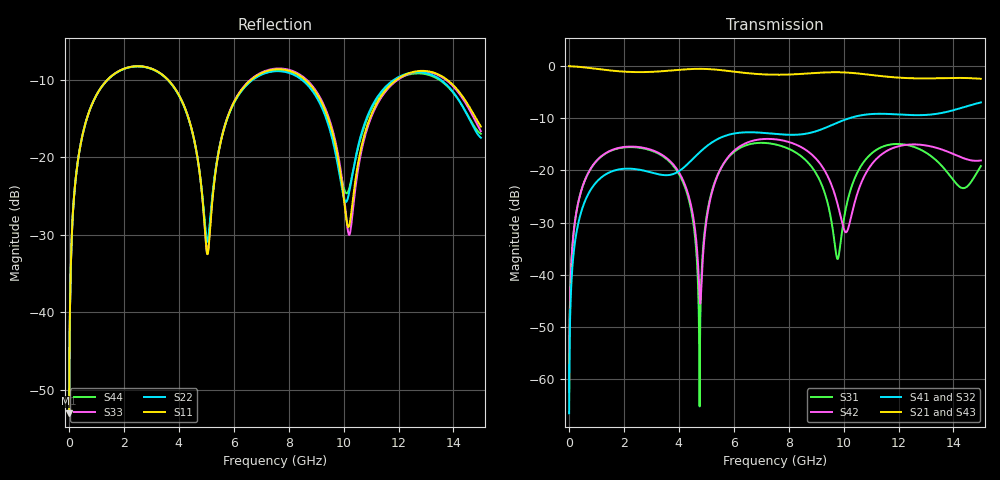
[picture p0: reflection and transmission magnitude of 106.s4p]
! Created with skrf 1.8.0 (http://scikit-rf.org).
# GHz S RI R 50.0
!freq ReS11 ImS11 ReS12 ImS12 ReS13 ImS13
! ReS14 ImS14
! ReS21 ImS21 ReS22 ImS22 ReS23 ImS23
! ReS24 ImS24
! ReS31 ImS31 ReS32 ImS32 ReS33 ImS33
! ReS34 ImS34
! ReS41 ImS41 ReS42 ImS42 ReS43 ImS43
! ReS44 ImS44
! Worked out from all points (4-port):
!   2499 points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, 5 MHz to 15 GHz, reference 50 ohm
!   strongest paths, dB at 5 MHz, 3.476 GHz, 7.19 GHz, 11.1 GHz, 15 GHz:
!     S21: 0.0, -1.0, -1.6, -1.8, -2.4
!     S43: 0.0, -1.0, -1.6, -1.7, -2.4
!     S41: -66.6, -20.9, -12.9, -9.2, -7.0
!     S32: -66.6, -21.0, -12.9, -9.2, -6.9
!     S42: -62.5, -17.3, -14.0, -18.3, -18.1
!     S31: -62.5, -17.5, -14.8, -16.4, -19.2
!   lowest |S11| = -53.1 dB at 5 MHz (marker M1), VSWR 1.00, Z = 50.2 + j0.135 ohm
!   |S11| at or under -10 dB: start of sweep to 1.393 GHz; 3.614 GHz to 6.623 GHz (3.01 GHz wide, 58.8 % of centre); 8.616 GHz to 11.92 GHz (3.3 GHz wide, 32.1 % of centre) (the widest 3 of 4)
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0.005  0.00177 0.00134  0.9982 -0.00345  9.1e-05 0.000746  -8.81e-05 -0.000461
       0.9982 -0.00345  0.00177 0.00134  -8.81e-05 -0.000461  9.1e-05 0.000746
       9.1e-05 0.000746  -8.81e-05 -0.000461  0.00177 0.00134  0.9982 -0.00345
       -8.81e-05 -0.000461  9.1e-05 0.000746  0.9982 -0.00345  0.00177 0.00134
1.469362  0.2768 0.1724  0.533 -0.7374  0.1369 0.0659  -0.0956 -0.00298
          0.533 -0.7374  0.2757 0.1731  -0.0954 -0.00316  0.14 0.0617
          0.1369 0.0659  -0.0954 -0.00316  0.2768 0.1723  0.533 -0.7375
          -0.0956 -0.00298  0.14 0.0617  0.533 -0.7375  0.2756 0.1732
4.039183  0.166 -0.182  -0.6822 -0.6201  0.0504 -0.0731  -0.0447 0.0891
          -0.6822 -0.6201  0.1689 -0.1777  -0.046 0.0879  0.0417 -0.0824
          0.0504 -0.0731  -0.046 0.0879  0.1657 -0.1821  -0.6824 -0.62
          -0.0447 0.0891  0.0417 -0.0824  -0.6824 -0.62  0.1688 -0.1771
4.75198  0.0363 -0.0731  -0.906 -0.2543  0.000467 -0.000519  -0.0342 0.1446
         -0.906 -0.2543  0.0409 -0.0707  -0.0366 0.1439  -0.00538 -0.00396
         0.000467 -0.000519  -0.0366 0.1439  0.036 -0.0725  -0.9061 -0.2539
         -0.0342 0.1446  -0.00538 -0.00396  -0.9061 -0.2539  0.0408 -0.07
5.989996  0.1535 0.1623  -0.766 0.4442  0.117 0.0918  0.1464 0.1711
          -0.766 0.4442  0.1547 0.1587  0.1432 0.1729  0.1279 0.0829
          0.117 0.0918  0.1432 0.1729  0.1556 0.1635  -0.7654 0.4445
          0.1464 0.1711  0.1279 0.0829  -0.7654 0.4445  0.1544 0.16
10.24177  0.0365 0.0142  0.8584 0.0842  0.0404 0.0491  0.0156 -0.3181
          0.8584 0.0842  0.0547 0.0346  0.0278 -0.3172  -0.00789 0.0321
          0.0404 0.0491  0.0278 -0.3172  0.0321 0.00716  0.8582 0.0869
          0.0156 -0.3181  -0.00789 0.0321  0.8582 0.0869  0.061 0.0277
15  0.1424 -0.069  -0.6959 -0.293  -0.0381 0.1031  -0.1663 0.416
    -0.6959 -0.293  0.1322 -0.0224  -0.1883 0.4087  -0.1065 0.0648
    -0.0381 0.1031  -0.1883 0.4087  0.1326 -0.0655  -0.6966 -0.2921
    -0.1663 0.416  -0.1065 0.0648  -0.6966 -0.2921  0.1409 -0.0193
